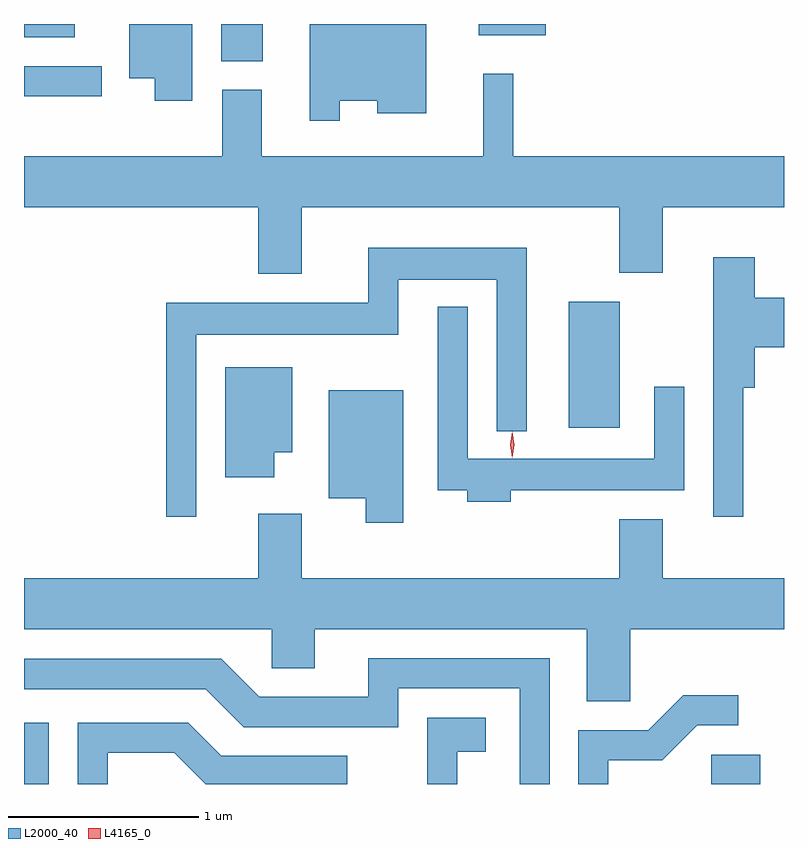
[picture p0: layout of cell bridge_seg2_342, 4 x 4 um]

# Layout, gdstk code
import gdstk
lib = gdstk.Library(unit=1e-6, precision=1e-09)
def R(c, l, rs):  # rectangles x0, y0, x1, y1
    for r in rs: c.add(gdstk.rectangle(r[:2], r[2:], *l))
def P(c, l, *ps):  # polygons
    for p in ps: c.add(gdstk.Polygon(p, *l))
L2000_40 = (2000, 40)
L4165_0 = (4165, 0)

bridge_seg2_342 = lib.new_cell('bridge_seg2_342')
R(bridge_seg2_342, L2000_40, [(405.898,1023.081,406.029,1023.404), (409.516,1023.081,409.774,1023.234), (408.766,1024.956,409.034,1025.619), (405.898,1026.701,406.308,1026.859), (406.936,1026.886,407.154,1027.081), (405.898,1027.011,406.164,1027.081), (408.291,1027.021,408.644,1027.081)])
P(bridge_seg2_342, L2000_40, [(407.559,1026.676),(407.756,1026.676),(407.756,1026.611),(408.014,1026.611),(408.014,1027.081),(407.401,1027.081),(407.401,1026.573),(407.559,1026.573)],
  [(406.784,1027.081),(406.451,1027.081),(406.451,1026.796),(406.586,1026.796),(406.586,1026.676),(406.784,1026.676)],
  [(407.359,1026.116),(409.031,1026.116),(409.031,1025.771),(409.259,1025.771),(409.259,1026.116),(409.898,1026.116),(409.898,1026.384),(408.474,1026.384),(408.474,1026.818),(408.316,1026.818),(408.316,1026.384),(407.149,1026.384),(407.149,1026.734),(406.941,1026.734),(406.941,1026.384),(405.898,1026.384),(405.898,1026.116),(407.131,1026.116),(407.131,1025.766),(407.359,1025.766)],
  [(406.804,1025.446),(407.869,1025.446),(407.869,1025.736),(408.386,1025.736),(408.386,1024.938),(408.544,1024.938),(408.544,1025.904),(407.711,1025.904),(407.711,1025.614),(406.646,1025.614),(406.646,1024.488),(406.804,1024.488)],
  [(409.684,1025.166),(409.744,1025.166),(409.744,1025.381),(409.898,1025.381),(409.898,1025.639),(409.744,1025.639),(409.744,1025.854),(409.526,1025.854),(409.526,1024.488),(409.684,1024.488)],
  [(408.459,1024.626),(409.374,1024.626),(409.374,1025.173),(409.216,1025.173),(409.216,1024.794),(408.234,1024.794),(408.234,1025.593),(408.076,1025.593),(408.076,1024.626),(408.231,1024.626),(408.231,1024.566),(408.459,1024.566)],
  [(407.214,1024.826),(407.309,1024.826),(407.309,1025.274),(406.956,1025.274),(406.956,1024.696),(407.214,1024.696)],
  [(407.894,1025.154),(407.501,1025.154),(407.501,1024.586),(407.696,1024.586),(407.696,1024.456),(407.894,1024.456)],
  [(409.089,1023.896),(409.898,1023.896),(409.898,1024.164),(409.259,1024.164),(409.259,1024.474),(409.031,1024.474),(409.031,1024.164),(407.359,1024.164),(407.359,1024.504),(407.131,1024.504),(407.131,1024.164),(405.898,1024.164),(405.898,1023.896),(407.201,1023.896),(407.201,1023.691),(407.429,1023.691),(407.429,1023.896),(408.861,1023.896),(408.861,1023.516),(409.089,1023.516)],
  [(408.664,1023.744),(407.711,1023.744),(407.711,1023.539),(407.137,1023.539),(406.937,1023.739),(405.898,1023.739),(405.898,1023.581),(406.854,1023.581),(407.054,1023.381),(407.869,1023.381),(407.869,1023.586),(408.506,1023.586),(408.506,1023.081),(408.664,1023.081)],
  [(408.974,1023.206),(409.257,1023.206),(409.442,1023.391),(409.658,1023.391),(409.658,1023.549),(409.369,1023.549),(409.184,1023.364),(408.816,1023.364),(408.816,1023.081),(408.974,1023.081)],
  [(408.179,1023.251),(408.329,1023.251),(408.329,1023.429),(408.021,1023.429),(408.021,1023.081),(408.179,1023.081)],
  [(406.339,1023.246),(406.689,1023.246),(406.854,1023.081),(407.599,1023.081),(407.599,1023.229),(406.937,1023.229),(406.762,1023.404),(406.181,1023.404),(406.181,1023.081),(406.339,1023.081)])
P(bridge_seg2_342, L4165_0, [(408.467,1024.797),(408.467,1024.798),(408.457,1024.867),(408.467,1024.936),(408.467,1024.936),(408.468,1024.936),(408.477,1024.867),(408.468,1024.798)],
  [(408.467,1024.8),(408.467,1024.8),(408.457,1024.866),(408.467,1024.933),(408.467,1024.933),(408.468,1024.933),(408.477,1024.866),(408.468,1024.8)])

lib.write_gds('bridge_seg2_342.gds')
